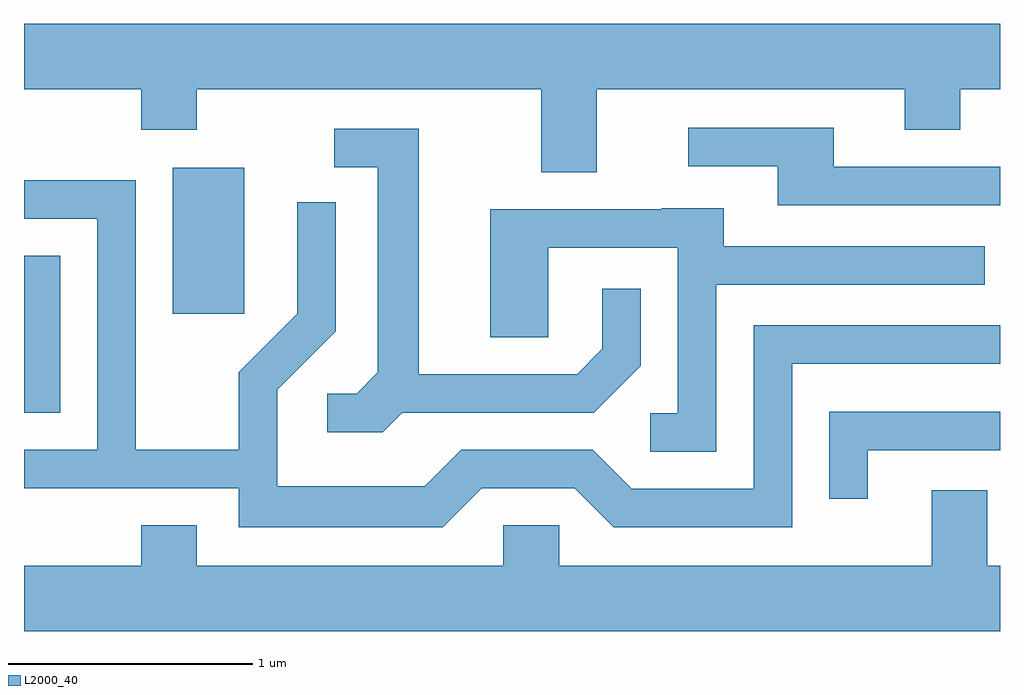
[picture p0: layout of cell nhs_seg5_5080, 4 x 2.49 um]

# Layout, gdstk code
import gdstk
lib = gdstk.Library(unit=1e-6, precision=1e-09)
def R(c, l, rs):  # rectangles x0, y0, x1, y1
    for r in rs: c.add(gdstk.rectangle(r[:2], r[2:], *l))
def P(c, l, *ps):  # polygons
    for p in ps: c.add(gdstk.Polygon(p, *l))
L2000_40 = (2000, 40)

nhs_seg5_5080 = lib.new_cell('nhs_seg5_5080')
R(nhs_seg5_5080, L2000_40, [(335.611,1471.011,335.759,1471.654), (336.221,1471.416,336.514,1472.014)])
P(nhs_seg5_5080, L2000_40, [(337.959,1472.336),(339.221,1472.336),(339.221,1472.171),(339.449,1472.171),(339.449,1472.336),(339.611,1472.336),(339.611,1472.604),(335.611,1472.604),(335.611,1472.336),(336.091,1472.336),(336.091,1472.171),(336.319,1472.171),(336.319,1472.336),(337.731,1472.336),(337.731,1471.996),(337.959,1471.996)],
  [(339.611,1472.019),(338.929,1472.019),(338.929,1472.179),(338.333,1472.179),(338.333,1472.021),(338.701,1472.021),(338.701,1471.861),(339.611,1471.861)],
  [(337.162,1471.011),(337.947,1471.011),(338.139,1471.204),(338.139,1471.518),(337.981,1471.518),(337.981,1471.272),(337.879,1471.169),(337.229,1471.169),(337.229,1472.174),(336.883,1472.174),(336.883,1472.016),(337.061,1472.016),(337.061,1471.177),(336.974,1471.089),(336.853,1471.089),(336.853,1470.931),(337.082,1470.931)],
  [(337.487,1470.701),(337.869,1470.701),(338.029,1470.541),(338.759,1470.541),(338.759,1471.211),(339.611,1471.211),(339.611,1471.369),(338.601,1471.369),(338.601,1470.699),(338.102,1470.699),(337.942,1470.859),(337.404,1470.859),(337.254,1470.709),(336.649,1470.709),(336.649,1471.104),(336.889,1471.344),(336.889,1471.873),(336.731,1471.873),(336.731,1471.417),(336.491,1471.177),(336.491,1470.859),(336.069,1470.859),(336.069,1471.964),(335.611,1471.964),(335.611,1471.806),(335.911,1471.806),(335.911,1470.859),(335.611,1470.859),(335.611,1470.701),(336.491,1470.701),(336.491,1470.541),(337.327,1470.541)],
  [(338.449,1471.536),(339.548,1471.536),(339.548,1471.694),(338.479,1471.694),(338.479,1471.849),(338.225,1471.849),(338.225,1471.844),(337.521,1471.844),(337.521,1471.321),(337.759,1471.321),(337.759,1471.686),(338.291,1471.686),(338.291,1471.009),(338.178,1471.009),(338.178,1470.851),(338.449,1470.851)],
  [(339.069,1470.856),(339.611,1470.856),(339.611,1471.014),(338.911,1471.014),(338.911,1470.658),(339.069,1470.658)],
  [(339.611,1470.384),(339.559,1470.384),(339.559,1470.694),(339.331,1470.694),(339.331,1470.384),(337.804,1470.384),(337.804,1470.549),(337.576,1470.549),(337.576,1470.384),(336.319,1470.384),(336.319,1470.549),(336.091,1470.549),(336.091,1470.384),(335.611,1470.384),(335.611,1470.116),(339.611,1470.116)])

lib.write_gds('nhs_seg5_5080.gds')
